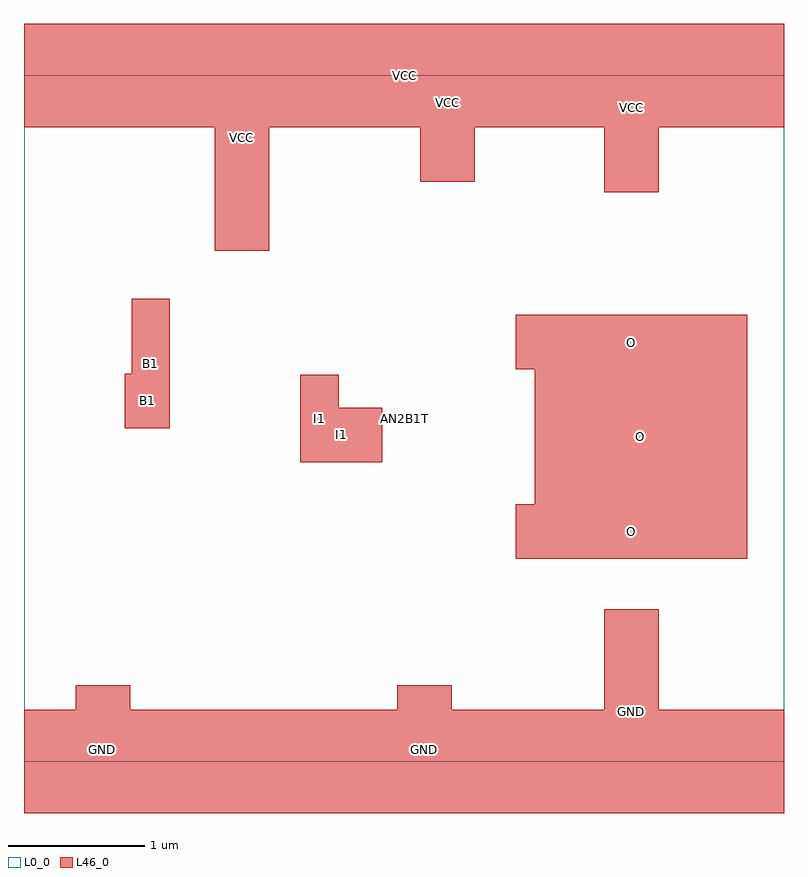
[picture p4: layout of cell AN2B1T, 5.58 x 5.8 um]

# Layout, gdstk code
import gdstk
lib = gdstk.Library(unit=1e-6, precision=1e-09)
def R(c, l, rs):  # rectangles x0, y0, x1, y1
    for r in rs: c.add(gdstk.rectangle(r[:2], r[2:], *l))
L0_0 = (0, 0)
L46_0 = (46, 0)

an2b1t = lib.new_cell('AN2B1T')
R(an2b1t, L0_0, [(0,0,5.58,5.04)])
R(an2b1t, L46_0, [(0,-0.38,5.58,0.38), (0.38,-0.38,0.78,0.56), (2.74,-0.38,3.14,0.56), (4.26,-0.38,4.66,1.12), (3.61,1.49,5.31,1.89), (3.75,1.49,5.31,3.28), (2.03,2.2,2.63,2.6), (2.03,2.2,2.31,2.84), (0.74,2.45,1.07,2.85), (0.79,2.45,1.07,3.4), (3.61,2.88,5.31,3.28), (1.4,3.75,1.8,5.42), (4.26,4.18,4.66,5.42), (2.91,4.26,3.31,5.42), (0,4.66,5.58,5.42)])
an2b1t.add(gdstk.Label('AN2B1T', (2.79,2.52), layer=0, texttype=0))
an2b1t.add(gdstk.Label('O', (4.53,2.385), layer=101, texttype=0))
an2b1t.add(gdstk.Label('O', (4.46,3.08), layer=101, texttype=0))
an2b1t.add(gdstk.Label('O', (4.46,1.69), layer=101, texttype=0))
an2b1t.add(gdstk.Label('I1', (2.33,2.4), layer=101, texttype=0))
an2b1t.add(gdstk.Label('I1', (2.17,2.52), layer=101, texttype=0))
an2b1t.add(gdstk.Label('B1', (0.93,2.925), layer=101, texttype=0))
an2b1t.add(gdstk.Label('B1', (0.905,2.65), layer=101, texttype=0))
an2b1t.add(gdstk.Label('GND', (2.94,0.09), layer=101, texttype=0))
an2b1t.add(gdstk.Label('GND', (4.46,0.37), layer=101, texttype=0))
an2b1t.add(gdstk.Label('GND', (2.79,0), layer=101, texttype=0))
an2b1t.add(gdstk.Label('GND', (0.58,0.09), layer=101, texttype=0))
an2b1t.add(gdstk.Label('VCC', (3.11,4.84), layer=101, texttype=0))
an2b1t.add(gdstk.Label('VCC', (4.46,4.8), layer=101, texttype=0))
an2b1t.add(gdstk.Label('VCC', (2.79,5.04), layer=101, texttype=0))
an2b1t.add(gdstk.Label('VCC', (1.6,4.585), layer=101, texttype=0))

lib.write_gds('AN2B1T.gds')
